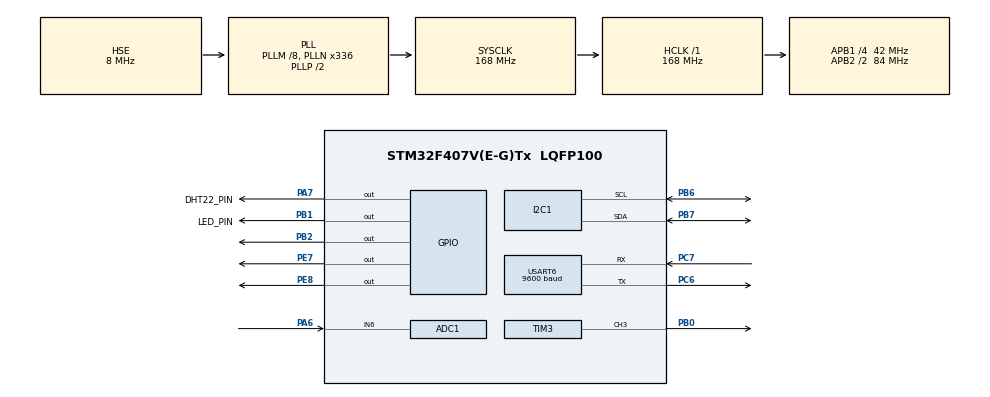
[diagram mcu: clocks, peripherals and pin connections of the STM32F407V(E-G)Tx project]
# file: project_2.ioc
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ADC1.Channel-3\#ChannelRegularConversion=ADC_CHANNEL_6
ADC1.NbrOfConversion=1
ADC1.NbrOfConversionFlag=1
ADC1.Rank-3\#ChannelRegularConversion=1
ADC1.SamplingTime-3\#ChannelRegularConversion=ADC_SAMPLETIME_144CYCLES
ADC1.master=1
Mcu.Family=STM32F4
Mcu.Name=STM32F407V(E-G)Tx
Mcu.Package=LQFP100
NVIC.PriorityGroup=NVIC_PRIORITYGROUP_4
NVIC.USART6_IRQn=true\:0\:0\:false\:false\:true\:true\:true\:true
PA13.Mode=Serial_Wire
PA13.Signal=SYS_JTMS-SWDIO
PA14.Mode=Serial_Wire
PA14.Signal=SYS_JTCK-SWCLK
PA6.Signal=ADCx_IN6
PA7.GPIO_Label=DHT22_PIN
PA7.PinState=GPIO_PIN_SET
PA7.Signal=GPIO_Output
PB0.Signal=S_TIM3_CH3
PB1.GPIO_Label=LED_PIN
PB1.Signal=GPIO_Output
PB2.Signal=GPIO_Output
PB6.Mode=I2C
PB6.Signal=I2C1_SCL
PB7.Mode=I2C
PB7.Signal=I2C1_SDA
PC6.Mode=Asynchronous
PC6.Signal=USART6_TX
PC7.Mode=Asynchronous
PC7.Signal=USART6_RX
PE7.Signal=GPIO_Output
PE8.Signal=GPIO_Output
PH0-OSC_IN.Mode=HSE-External-Oscillator
PH0-OSC_IN.Signal=RCC_OSC_IN
PH1-OSC_OUT.Mode=HSE-External-Oscillator
PH1-OSC_OUT.Signal=RCC_OSC_OUT
ProjectManager.HeapSize=0x200
ProjectManager.StackSize=0x400
ProjectManager.TargetToolchain=CMake
RCC.48MHZClocksFreq_Value=84000000
RCC.AHBFreq_Value=168000000
RCC.APB1CLKDivider=RCC_HCLK_DIV4
RCC.APB1Freq_Value=42000000
RCC.APB1TimFreq_Value=84000000
RCC.APB2CLKDivider=RCC_HCLK_DIV2
RCC.APB2Freq_Value=84000000
RCC.APB2TimFreq_Value=168000000
RCC.CortexFreq_Value=168000000
RCC.HCLKFreq_Value=168000000
RCC.HSE_VALUE=8000000
RCC.HSI_VALUE=16000000
RCC.LSE_VALUE=32768
RCC.PLLM=8
RCC.PLLN=336
RCC.PLLSourceVirtual=RCC_PLLSOURCE_HSE
RCC.SYSCLKFreq_VALUE=168000000
RCC.SYSCLKSource=RCC_SYSCLKSOURCE_PLLCLK
RCC.VCOOutputFreq_Value=336000000
SH.ADCx_IN6.0=ADC1_IN6,IN6
SH.S_TIM3_CH3.0=TIM3_CH3,PWM Generation3 CH3
TIM3.Channel-PWM\ Generation3\ CH3=TIM_CHANNEL_3
TIM3.Period=20000 
TIM3.Prescaler=83
TIM3.Pulse-PWM\ Generation3\ CH3=1500
TIM6.Prescaler=83
USART6.BaudRate=9600
USART6.VirtualMode=VM_ASYNC
VP_TIM6_VS_ClockSourceINT.Mode=Enable_Timer
board=custom

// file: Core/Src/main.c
/* USER CODE BEGIN Header */
/**
  ******************************************************************************
  * @file           : main.c
  * @brief          : Main program body
  ******************************************************************************
  * @attention
  *
  * Copyright (c) 2025 STMicroelectronics.
  * All rights reserved.
  *
  * This software is licensed under terms that can be found in the LICENSE file
  * in the root directory of this software component.
  * If no LICENSE file comes with this software, it is provided AS-IS.
  *
  ******************************************************************************
  */
/* USER CODE END Header */
#include "main.h"
#include "adc.h"
#include "i2c.h"
#include "tim.h"
#include "usart.h"
#include "gpio.h"

/* USER CODE BEGIN Includes */
#include "i2c_lcd.h"
#include "BH1750.h"
#include <stdio.h>
#include <string.h>

#include "dht22.h"
extern TIM_HandleTypeDef htim6;
extern UART_HandleTypeDef huart6;

I2C_LCD_HandleTypeDef lcd1;

volatile uint32_t msTicks;
float RH, TEMP;
/* USER CODE END Includes */

/* USER CODE BEGIN PV */
typedef enum {
  MODE_INTRO = 0,
  MODE_AUTH = 1,
  MODE_SENSOR = 2,
  MODE_SETUP = 3,
  MODE_VERIFY_SETUP = 4
} DisplayMode;

DisplayMode currentMode = MODE_INTRO;
uint8_t menuPosition = 0;
uint8_t setupMenuPosition = 0;

uint8_t global_status;
BH1750_device_t *global_test_dev;
uint8_t rx_char;

char password_display[7] = "";
uint8_t password_length = 0;
bool is_entering_password = false;
/* USER CODE END PV */

void SystemClock_Config(void);

/* USER CODE BEGIN 0 */

void Display_Intro(void) {
  lcd_clear(&lcd1);
  lcd_gotoxy(&lcd1, 1, 0);
  lcd_puts(&lcd1, "HE THONG GIAM SAT");
  lcd_gotoxy(&lcd1, 3, 1);
  lcd_puts(&lcd1, "NHA THONG MINH");
  lcd_gotoxy(&lcd1, 1, 2);
  lcd_puts(&lcd1, "NGUYEN TAI ANH TUAN");
  lcd_gotoxy(&lcd1, 3, 3);
  lcd_puts(&lcd1, "DH SPKT TP.HCM");
}

void Display_Auth(uint8_t position) {
  lcd_clear(&lcd1);
  lcd_gotoxy(&lcd1, 0, 0);
  lcd_puts(&lcd1, "CHE DO XAC THUC");

  lcd_gotoxy(&lcd1, 0, 1);
  lcd_puts(&lcd1, position == 0 ? "> KEYPAD4x4" : "  KEYPAD4x4");

  lcd_gotoxy(&lcd1, 0, 2);
  lcd_puts(&lcd1, position == 1 ? "> THE RFID" : "  THE RFID");

  lcd_gotoxy(&lcd1, 0, 3);
  lcd_puts(&lcd1, position == 2 ? "> VAN TAY" : "  VAN TAY");
}

void Display_Sensors(float temp, float humidity, uint32_t gas, uint32_t light) {
  lcd_clear(&lcd1);

  char buffer[20];

  lcd_gotoxy(&lcd1, 0, 0);
  lcd_puts(&lcd1, "THONG TIN CAM BIEN");

  lcd_gotoxy(&lcd1, 0, 1);
  snprintf(buffer, sizeof(buffer), "NHIET DO: %d.%01d", (int)temp, (int)(temp * 10) % 10);
  lcd_puts(&lcd1, buffer);
  lcd_send_data(&lcd1, 0xDF);
  lcd_send_data(&lcd1, 'C');

  lcd_gotoxy(&lcd1, 0, 2);
  snprintf(buffer, sizeof(buffer), "DO AM: %d.%01d%%", (int)humidity, (int)(humidity * 10) % 10);
  lcd_puts(&lcd1, buffer);

  lcd_gotoxy(&lcd1, 0, 3);
  snprintf(buffer, sizeof(buffer), "GAS:%u  LUX:%u", gas, light);
  lcd_puts(&lcd1, buffer);
}

void Display_Password_Entry(void) {
  lcd_clear(&lcd1);
  lcd_gotoxy(&lcd1, 0, 0);
  lcd_puts(&lcd1, "NHAP MAT KHAU:");

  lcd_gotoxy(&lcd1, 0, 1);
  lcd_puts(&lcd1, "MAT KHAU: ");

  lcd_gotoxy(&lcd1, 10, 1);
  for (int i = 0; i < password_length; i++) {
    lcd_send_data(&lcd1, '*');
  }

  lcd_gotoxy(&lcd1, 0, 2);
  lcd_puts(&lcd1, "# XAC NHAN");
  lcd_gotoxy(&lcd1, 0, 3);
  lcd_puts(&lcd1, "* XOA/HUY");
}

void Display_Setup_Verify(void) {
  lcd_clear(&lcd1);
  lcd_gotoxy(&lcd1, 0, 0);
  lcd_puts(&lcd1, "XAC THUC CAI DAT");

  lcd_gotoxy(&lcd1, 0, 1);
  lcd_puts(&lcd1, "MAT KHAU: ");

  lcd_gotoxy(&lcd1, 10, 1);
  for (int i = 0; i < password_length; i++) {
    lcd_send_data(&lcd1, '*');
  }

  lcd_gotoxy(&lcd1, 0, 2);
  lcd_puts(&lcd1, "# XAC NHAN");
  lcd_gotoxy(&lcd1, 0, 3);
  lcd_puts(&lcd1, "* XOA/HUY");
}

void Servo_SetAngle(uint8_t angle);
bool status_open = false;

void HAL_UART_RxCpltCallback(UART_HandleTypeDef *huart)
{
  if (huart->Instance == USART6)
  {
    switch(rx_char) {
      case 'j':
        HAL_GPIO_WritePin(GPIOB, GPIO_PIN_1, GPIO_PIN_SET);
        break;
      case 'k':
        HAL_GPIO_WritePin(GPIOB, GPIO_PIN_1, GPIO_PIN_RESET);
        break;
      case 'g':
        HAL_GPIO_WritePin(GPIOB, GPIO_PIN_2, GPIO_PIN_SET);
        break;
      case 'h':
        HAL_GPIO_WritePin(GPIOB, GPIO_PIN_2, GPIO_PIN_RESET);
        break;
      case 'd':
        HAL_GPIO_WritePin(GPIOE, GPIO_PIN_7, GPIO_PIN_SET);
        break;
      case 'f':
        HAL_GPIO_WritePin(GPIOE, GPIO_PIN_7, GPIO_PIN_RESET);
        break;
      case 'a':
        HAL_GPIO_WritePin(GPIOE, GPIO_PIN_8, GPIO_PIN_SET);
        break;
      case 's':
        HAL_GPIO_WritePin(GPIOE, GPIO_PIN_8, GPIO_PIN_RESET);
        break;
      case 'A':
        currentMode = MODE_AUTH;
        menuPosition = 0;
        is_entering_password = false;
        Display_Auth(menuPosition);
        break;

      case 'B':
        if (currentMode == MODE_AUTH && !is_entering_password) {
          menuPosition = (menuPosition + 1) % 3;
          Display_Auth(menuPosition);
        }
        else if (currentMode == MODE_SETUP) {
          setupMenuPosition = (setupMenuPosition + 1) % 3;
          Display_Setup(setupMenuPosition);
        }
        break;

      case '#':
        if (currentMode == MODE_AUTH && !is_entering_password) {
          lcd_gotoxy(&lcd1, 0, 3);
          switch(menuPosition) {
            case 0:
              lcd_puts(&lcd1, "XAC THUC KEYPAD...");
              break;
            case 1:
              lcd_puts(&lcd1, "XAC THUC RFID...");
              break;
            case 2:
              lcd_puts(&lcd1, "XAC THUC VAN TAY...");
              break;
          }
        }
        else if (currentMode == MODE_SETUP) {
          lcd_gotoxy(&lcd1, 0, 3);
          switch(setupMenuPosition) {
            case 0:
              lcd_puts(&lcd1, "SETUP MAT KHAU...");
              break;
            case 1:
              lcd_puts(&lcd1, "SETUP VAN TAY...");
              break;
            case 2:
              lcd_puts(&lcd1, "SETUP RFID...");
              break;
          }
        }
        break;

      case 'C':
        currentMode = MODE_SENSOR;
        is_entering_password = false;
        break;

      case 'S':
        currentMode = MODE_SETUP;
        setupMenuPosition = 0;
        is_entering_password = false;
        Display_Setup(setupMenuPosition);
        break;

      case 'I':
        currentMode = MODE_INTRO;
        is_entering_password = false;
        Display_Intro();
        break;

      case 'W':
        currentMode = MODE_VERIFY_SETUP;
        is_entering_password = true;
        password_length = 0;
        memset(password_display, 0, sizeof(password_display));
        Display_Setup_Verify();
        break;

      case 'P':
        is_entering_password = true;
        password_length = 0;
        memset(password_display, 0, sizeof(password_display));
        Display_Password_Entry();
        break;

      case 'N':
        is_entering_password = true;
        password_length = 0;
        memset(password_display, 0, sizeof(password_display));
        Display_Setup_Password();
        break;

      case 'R':
        is_entering_password = false;
        lcd_clear(&lcd1);
        lcd_gotoxy(&lcd1, 0, 0);
        lcd_puts(&lcd1, "XAC THUC RFID");
        lcd_gotoxy(&lcd1, 0, 1);
        lcd_puts(&lcd1, "VUI LONG QUET THE...");
        lcd_gotoxy(&lcd1, 0, 3);
        lcd_puts(&lcd1, "* DE HUY");
        break;

      case 'T':
        is_entering_password = false;
        Display_Setup_RFID();
        break;

      case 'V':
        is_entering_password = false;
        lcd_clear(&lcd1);
        lcd_gotoxy(&lcd1, 0, 0);
        lcd_puts(&lcd1, "XAC THUC VAN TAY");
        lcd_gotoxy(&lcd1, 0, 1);
        lcd_puts(&lcd1, "DAT NGON TAY...");
        lcd_gotoxy(&lcd1, 0, 3);
        lcd_puts(&lcd1, "* DE HUY");
        break;

      case 'G':
        is_entering_password = false;
        Display_Setup_Fingerprint();
        break;

      case '0': case '1': case '2': case '3': case '4':
      case '5': case '6': case '7': case '8': case '9':
        if (is_entering_password && password_length < 6) {
          password_display[password_length] = rx_char;
          password_length++;
          if (currentMode == MODE_SETUP) {
            Display_Setup_Password();
          } else if (currentMode == MODE_VERIFY_SETUP) {
            Display_Setup_Verify();
          } else {
            Display_Password_Entry();
          }
        }
        break;

      case 'X':
        if (is_entering_password && password_length > 0) {
          password_length--;
          password_display[password_length] = '\0';
          if (currentMode == MODE_SETUP) {
            Display_Setup_Password();
          } else if (currentMode == MODE_VERIFY_SETUP) {
            Display_Setup_Verify();
          } else {
            Display_Password_Entry();
          }
        }
        break;

      case 'O':
        status_open = true;
        is_entering_password = false;
        lcd_clear(&lcd1);
        lcd_gotoxy(&lcd1, 0, 1);
        lcd_puts(&lcd1, "XAC THUC THANH CONG");
        lcd_gotoxy(&lcd1, 0, 2);
        lcd_puts(&lcd1, "DANG MO CUA...");
        break;

      case 'Y':
        is_entering_password = false;
        Display_Success("CAI DAT THANH CONG");
        break;

      case 'F':
        if (is_entering_password) {
          if (currentMode == MODE_VERIFY_SETUP) {
            is_entering_password = false;
            Display_Error("SAI MAT KHAU!");
          } else {
            lcd_gotoxy(&lcd1, 0, 2);
            lcd_puts(&lcd1, "SAI MAT KHAU!     ");
            lcd_gotoxy(&lcd1, 0, 3);
            lcd_puts(&lcd1, "THU LAI...        ");
            password_length = 0;
            memset(password_display, 0, sizeof(password_display));
          }
        }
        break;

      case 'E':
        is_entering_password = false;
        Display_Error("CAI DAT THAT BAI");
        break;

      case 'U':
        is_entering_password = false;
        lcd_clear(&lcd1);
        lcd_gotoxy(&lcd1, 0, 1);
        lcd_puts(&lcd1, "XAC THUC THAT BAI!");
        lcd_gotoxy(&lcd1, 0, 2);
        lcd_puts(&lcd1, "THE KHONG HOP LE");
        break;

      case 'Z':
        is_entering_password = false;
        lcd_clear(&lcd1);
        lcd_gotoxy(&lcd1, 0, 1);
        lcd_puts(&lcd1, "SAI VAN TAY!");
        lcd_gotoxy(&lcd1, 0, 2);
        lcd_puts(&lcd1, "THU LAI...");
        break;
    }

    HAL_UART_Receive_IT(&huart6, &rx_char, 1);
  }
}

void Servo_SetAngle(uint8_t angle) {
    if (angle > 180) angle = 180;
    uint16_t pulse = 500 + (angle * 2000) / 180;
    __HAL_TIM_SET_COMPARE(&htim3, TIM_CHANNEL_3, pulse);
}

void Display_Setup(uint8_t position) {
  lcd_clear(&lcd1);
  lcd_gotoxy(&lcd1, 0, 0);
  lcd_puts(&lcd1, "CHE DO CAI DAT");

  lcd_gotoxy(&lcd1, 0, 1);
  lcd_puts(&lcd1, position == 0 ? "> MAT KHAU MOI" : "  MAT KHAU MOI");

  lcd_gotoxy(&lcd1, 0, 2);
  lcd_puts(&lcd1, position == 1 ? "> VAN TAY MOI" : "  VAN TAY MOI");

  lcd_gotoxy(&lcd1, 0, 3);
  lcd_puts(&lcd1, position == 2 ? "> THE RFID MOI" : "  THE RFID MOI");
}

void Display_Setup_Password(void) {
  lcd_clear(&lcd1);
  lcd_gotoxy(&lcd1, 0, 0);
  lcd_puts(&lcd1, "DAT MAT KHAU MOI:");

  lcd_gotoxy(&lcd1, 0, 1);
  lcd_puts(&lcd1, "MAT KHAU: ");

  lcd_gotoxy(&lcd1, 10, 1);
  for (int i = 0; i < password_length; i++) {
    lcd_send_data(&lcd1, '*');
  }

  lcd_gotoxy(&lcd1, 0, 2);
  lcd_puts(&lcd1, "# XAC NHAN");
  lcd_gotoxy(&lcd1, 0, 3);
  lcd_puts(&lcd1, "* XOA/HUY");
}

void Display_Setup_Fingerprint(void) {
  lcd_clear(&lcd1);
  lcd_gotoxy(&lcd1, 0, 0);
  lcd_puts(&lcd1, "DANG KY VAN TAY");
  lcd_gotoxy(&lcd1, 0, 1);
  lcd_puts(&lcd1, "DAT NGON TAY...");
  lcd_gotoxy(&lcd1, 0, 2);
  lcd_puts(&lcd1, "# DE BAT DAU");
  lcd_gotoxy(&lcd1, 0, 3);
  lcd_puts(&lcd1, "* DE HUY");
}

void Display_Setup_RFID(void) {
  lcd_clear(&lcd1);
  lcd_gotoxy(&lcd1, 0, 0);
  lcd_puts(&lcd1, "DANG KY THE RFID");
  lcd_gotoxy(&lcd1, 0, 1);
  lcd_puts(&lcd1, "VUI LONG QUET THE...");
  lcd_gotoxy(&lcd1, 0, 3);
  lcd_puts(&lcd1, "* DE HUY");
}

void Display_Success(char* message) {
  lcd_clear(&lcd1);
  lcd_gotoxy(&lcd1, 0, 1);
  lcd_puts(&lcd1, "THANH CONG!");
  lcd_gotoxy(&lcd1, 0, 2);
  lcd_puts(&lcd1, message);
}

void Display_Error(char* message) {
  lcd_clear(&lcd1);
  lcd_gotoxy(&lcd1, 0, 1);
  lcd_puts(&lcd1, "LOI!");
  lcd_gotoxy(&lcd1, 0, 2);
  lcd_puts(&lcd1, message);
}

void Send_Sensor_Data_To_ESP32(float temp, float humidity, uint32_t gas, uint32_t light) {
  char buffer[100];
  snprintf(buffer, sizeof(buffer), "SENSOR:%d,%d,%lu,%lu\n", (int)temp, (int)humidity, gas, light);
  HAL_UART_Transmit(&huart6, (uint8_t*)buffer, strlen(buffer), HAL_MAX_DELAY);
}

/* USER CODE END 0 */

int main(void)
{

  /* MCU Configuration--------------------------------------------------------*/

  /* Reset of all peripherals, Initializes the Flash interface and the Systick. */
  HAL_Init();

  /* Configure the system clock */
  SystemClock_Config();

  /* Initialize all configured peripherals */
  MX_GPIO_Init();
  MX_I2C1_Init();
  MX_TIM6_Init();
  MX_ADC1_Init();
  MX_TIM3_Init();
  MX_USART6_UART_Init();
  /* USER CODE BEGIN 2 */

  BH1750_init_i2c(&hi2c1);
  BH1750_device_t *test_dev = BH1750_init_dev_struct(&hi2c1, "test device", true);
  global_test_dev = test_dev;
  HAL_TIM_Base_Start(&htim6);
  DHT22_Init(&htim6);
  lcd1.hi2c = &hi2c1;
  lcd1.address = 0x4e;
  lcd_init(&lcd1);

  Display_Intro();

  HAL_TIM_PWM_Start(&htim3, TIM_CHANNEL_3);

  HAL_UART_Receive_IT(&huart6, &rx_char, 1);

  /* USER CODE END 2 */

  /* Infinite loop */
  while (1)
  {

    /* USER CODE BEGIN 3 */

    if (status_open) {
      Servo_SetAngle(180);
      HAL_Delay(3000);
      Servo_SetAngle(0);
      status_open = false;

      currentMode = MODE_INTRO;
      is_entering_password = false;
      Display_Intro();
    }

    if (currentMode == MODE_SENSOR) {
      float temp = 0, hum = 0;
      uint8_t retry = 0;
      uint8_t dht_status = DHT22_ERR_RESPONSE;

      while (retry < 3 && dht_status != DHT22_OK) {
        dht_status = DHT22_Read_Data(&temp, &hum);
        retry++;
        if (dht_status != DHT22_OK) {
          HAL_Delay(500);
        }
      }

      char debug_buffer[50];
      snprintf(debug_buffer, sizeof(debug_buffer), "DHT22: Status=%d, Temp=%.2f, Hum=%.2f\n", dht_status, temp, hum);
      HAL_UART_Transmit(&huart6, (uint8_t*)debug_buffer, strlen(debug_buffer), HAL_MAX_DELAY);

      uint32_t mq2_value = 0;
      HAL_ADC_Start(&hadc1);
      HAL_ADC_PollForConversion(&hadc1, HAL_MAX_DELAY);
      mq2_value = HAL_ADC_GetValue(&hadc1);
      HAL_ADC_Stop(&hadc1);

      global_test_dev->poll(global_test_dev);

      Display_Sensors(temp, hum, mq2_value, global_test_dev->lux);

      if (dht_status == DHT22_OK && temp != 0.0 && hum != 0.0) {
        Send_Sensor_Data_To_ESP32(temp, hum, mq2_value, global_test_dev->lux);
      } else {
        char error_msg[30];
        snprintf(error_msg, sizeof(error_msg), "DHT22_ERROR: Status=%d\n", dht_status);
        HAL_UART_Transmit(&huart6, (uint8_t*)error_msg, strlen(error_msg), HAL_MAX_DELAY);
      }
    }

    HAL_Delay(500);
  }
  /* USER CODE END 3 */
}

void SystemClock_Config(void)
{
  RCC_OscInitTypeDef RCC_OscInitStruct = {0};
  RCC_ClkInitTypeDef RCC_ClkInitStruct = {0};

  /** Configure the main internal regulator output voltage
  */
  __HAL_RCC_PWR_CLK_ENABLE();
  __HAL_PWR_VOLTAGESCALING_CONFIG(PWR_REGULATOR_VOLTAGE_SCALE1);

  /** Initializes the RCC Oscillators according to the specified parameters
  * in the RCC_OscInitTypeDef structure.
  */
  RCC_OscInitStruct.OscillatorType = RCC_OSCILLATORTYPE_HSE;
  RCC_OscInitStruct.HSEState = RCC_HSE_ON;
  RCC_OscInitStruct.PLL.PLLState = RCC_PLL_ON;
  RCC_OscInitStruct.PLL.PLLSource = RCC_PLLSOURCE_HSE;
  RCC_OscInitStruct.PLL.PLLM = 8;
  RCC_OscInitStruct.PLL.PLLN = 336;
  RCC_OscInitStruct.PLL.PLLP = RCC_PLLP_DIV2;
  RCC_OscInitStruct.PLL.PLLQ = 4;
  if (HAL_RCC_OscConfig(&RCC_OscInitStruct) != HAL_OK)
  {
    Error_Handler();
  }

  /** Initializes the CPU, AHB and APB buses clocks
  */
  RCC_ClkInitStruct.ClockType = RCC_CLOCKTYPE_HCLK|RCC_CLOCKTYPE_SYSCLK
                              |RCC_CLOCKTYPE_PCLK1|RCC_CLOCKTYPE_PCLK2;
  RCC_ClkInitStruct.SYSCLKSource = RCC_SYSCLKSOURCE_PLLCLK;
  RCC_ClkInitStruct.AHBCLKDivider = RCC_SYSCLK_DIV1;
  RCC_ClkInitStruct.APB1CLKDivider = RCC_HCLK_DIV4;
  RCC_ClkInitStruct.APB2CLKDivider = RCC_HCLK_DIV2;

  if (HAL_RCC_ClockConfig(&RCC_ClkInitStruct, FLASH_LATENCY_5) != HAL_OK)
  {
    Error_Handler();
  }
}

void Error_Handler(void)
{
  __disable_irq();
  while (1)
  {
  }
}
